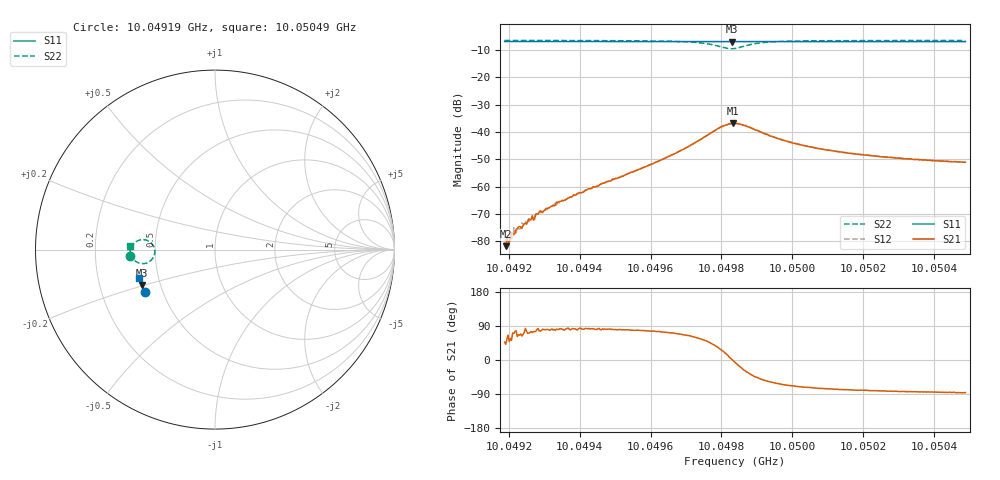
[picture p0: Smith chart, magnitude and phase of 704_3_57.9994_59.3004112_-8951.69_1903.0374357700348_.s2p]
#  HZ  S  RI  R  50.00
! Rohde & Schwarz Vector Network Analyzer
! Rohde-Schwarz,ZNB20-2Port,1311601062101988,3.16
! Created: UTC 3/21/2024, 1:21:54 AM
! freq[Hz]  re:S11  im:S11  re:S21  im:S21  re:S12  im:S12  re:S22  im:S22
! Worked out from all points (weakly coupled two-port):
!   401 points, 10.04919 GHz to 10.05049 GHz, reference 50 ohm
!   highest |S21| = -36.77 dB at 10.04983 GHz (marker M1); lowest = -81.7 dB at 10.04919 GHz (marker M2)
!   lowest |S11| = -6.9 dB at 10.04983 GHz (marker M3), VSWR 2.65, Z = 19.7 - j9.88 ohm
!   |S11| at or under -10 dB: nowhere
!   |S22| runs from -9.5 to -6.5 dB; largest |S21 - S12| = 0.0012
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1.0049188e10  -0.3878 -0.237  6.38e-05 6.86e-05  7.62e-05 7.43e-05  -0.4735 -0.037
1.0049191e10  -0.3879 -0.2368  6.15e-05 5.43e-05  8.29e-05 6.76e-05  -0.4736 -0.0367
1.0049197e10  -0.3882 -0.2364  4.24e-05 9.41e-05  3.21e-05 9.07e-05  -0.4734 -0.0361
1.0049204e10  -0.3883 -0.236  6.19e-05 9.5e-05  8.79e-05 0.000102  -0.4736 -0.0356
1.004922e10  -0.3889 -0.2351  3.76e-05 0.000163  5.09e-05 0.000135  -0.4737 -0.0342
1.0049227e10  -0.389 -0.2347  7.3e-05 0.000169  4.02e-05 0.000167  -0.4737 -0.0335
1.0049243e10  -0.3896 -0.2338  6.21e-05 0.000199  4.47e-05 0.0002  -0.4734 -0.0322
1.0049282e10  -0.3909 -0.2315  3.74e-05 0.000311  4.96e-05 0.000324  -0.4734 -0.0285
1.0049341e10  -0.3927 -0.228  8.68e-05 0.000524  5.72e-05 0.000506  -0.4732 -0.0229
1.0049406e10  -0.3948 -0.2244  0.000111 0.000774  4.97e-05 0.000827  -0.4728 -0.0159
1.0049624e10  -0.4012 -0.2112  0.000763 0.0029  0.00062 0.00287  -0.4633 0.0175
1.0049705e10  -0.4034 -0.2062  0.00229 0.00486  0.002 0.00497  -0.4455 0.0398
1.0049773e10  -0.4049 -0.2019  0.00728 0.00675  0.00684 0.00715  -0.3948 0.0552
1.0049802e10  -0.4053 -0.2002  0.0117 0.00536  0.0111 0.00599  -0.3554 0.0365
1.0049828e10  -0.4055 -0.1991  0.0143 0.000563  0.0143 0.00164  -0.3354 -0.01
1.0049832e10  -0.4058 -0.199  0.0145 -0.000172  0.0143 0.000799  -0.3355 -0.0169
1.0049838e10  -0.4059 -0.1989  0.0144 -0.00151  0.0144 -0.000552  -0.338 -0.0303
1.0049874e10  -0.4071 -0.1972  0.0106 -0.0068  0.0111 -0.00617  -0.3817 -0.075
1.004992e10  -0.4088 -0.1948  0.00562 -0.00762  0.00625 -0.00727  -0.43 -0.0725
1.0050056e10  -0.4129 -0.1864  0.00153 -0.00507  0.00187 -0.00498  -0.4674 -0.0328
1.0050274e10  -0.4183 -0.173  0.000455 -0.00342  0.000677 -0.0034  -0.4742 -0.00107
1.0050489e10  -0.4232 -0.1597  0.000194 -0.0028  0.00034 -0.00279  -0.4747 0.0195
